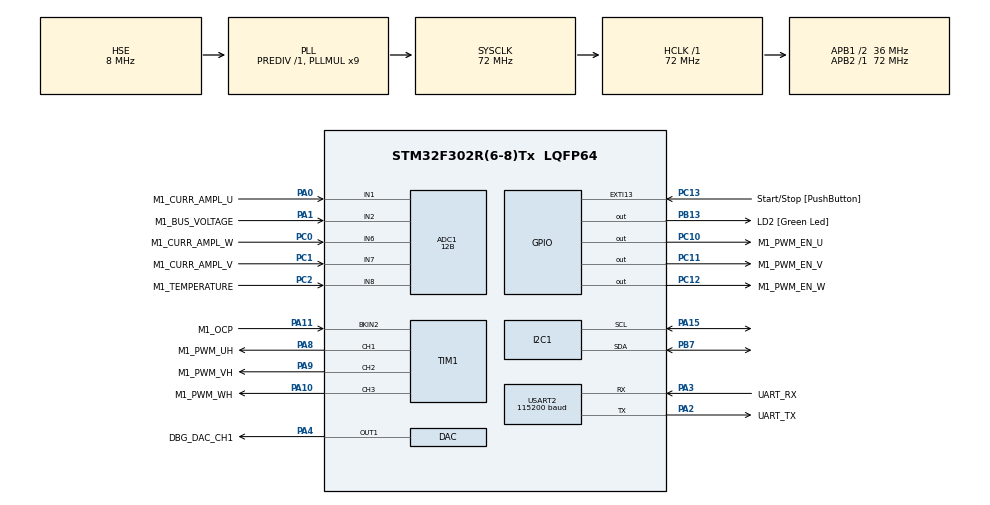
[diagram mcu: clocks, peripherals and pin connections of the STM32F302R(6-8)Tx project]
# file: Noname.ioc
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ADC1.Channel-1\#ChannelRegularConversion=ADC_CHANNEL_2
ADC1.Channel-2\#ChannelRegularConversion=ADC_CHANNEL_8
ADC1.ClockPrescaler=ADC_CLOCK_SYNC_PCLK_DIV1
ADC1.ContinuousConvMode=DISABLE
ADC1.DMAContinuousRequests=DISABLE
ADC1.DataAlign=ADC_DATAALIGN_LEFT
ADC1.DiscontinuousConvMode=DISABLE
ADC1.EOCSelection=ADC_EOC_SINGLE_CONV
ADC1.EnableAnalogWatchDog1=false
ADC1.EnableAnalogWatchDog2=false
ADC1.EnableAnalogWatchDog3=false
ADC1.EnableInjectedConversion=ENABLE
ADC1.EnableRegularConversion=ENABLE
ADC1.ExternalTrigConv=ADC_SOFTWARE_START
ADC1.ExternalTrigConvEdge=ADC_EXTERNALTRIGCONVEDGE_NONE
ADC1.ExternalTrigInjecConv=ADC_EXTERNALTRIGINJECCONV_T1_TRGO
ADC1.ExternalTrigInjecConvEdge=ADC_EXTERNALTRIGINJECCONV_EDGE_RISING
ADC1.InjNumberOfConversion=3
ADC1.InjectedChannel-1\#ChannelInjectedConversion=ADC_CHANNEL_1
ADC1.InjectedChannel-2\#ChannelInjectedConversion=ADC_CHANNEL_7
ADC1.InjectedChannel-3\#ChannelInjectedConversion=ADC_CHANNEL_6
ADC1.InjectedConvMode=None
ADC1.InjectedOffset-1\#ChannelInjectedConversion=0
ADC1.InjectedOffset-2\#ChannelInjectedConversion=0
ADC1.InjectedOffset-3\#ChannelInjectedConversion=0
ADC1.InjectedOffsetNumber-1\#ChannelInjectedConversion=ADC_OFFSET_NONE
ADC1.InjectedOffsetNumber-2\#ChannelInjectedConversion=ADC_OFFSET_NONE
ADC1.InjectedOffsetNumber-3\#ChannelInjectedConversion=ADC_OFFSET_NONE
ADC1.InjectedRank-1\#ChannelInjectedConversion=1
ADC1.InjectedRank-2\#ChannelInjectedConversion=2
ADC1.InjectedRank-3\#ChannelInjectedConversion=3
ADC1.InjectedSamplingTime-1\#ChannelInjectedConversion=ADC_SAMPLETIME_19CYCLES_5
ADC1.InjectedSamplingTime-2\#ChannelInjectedConversion=ADC_SAMPLETIME_19CYCLES_5
ADC1.InjectedSamplingTime-3\#ChannelInjectedConversion=ADC_SAMPLETIME_19CYCLES_5
ADC1.LowPowerAutoWait=DISABLE
ADC1.NbrOfConversion=2
ADC1.NbrOfConversionFlag=1
ADC1.Offset-1\#ChannelRegularConversion=0
ADC1.Offset-2\#ChannelRegularConversion=0
ADC1.OffsetNumber-1\#ChannelRegularConversion=ADC_OFFSET_NONE
ADC1.OffsetNumber-2\#ChannelRegularConversion=ADC_OFFSET_NONE
ADC1.Overrun=ADC_OVR_DATA_PRESERVED
ADC1.QueueInjectedContext=ENABLE
ADC1.Rank-1\#ChannelRegularConversion=1
ADC1.Rank-2\#ChannelRegularConversion=2
ADC1.Resolution=ADC_RESOLUTION_12B
ADC1.SamplingTime-1\#ChannelRegularConversion=ADC_SAMPLETIME_61CYCLES_5
ADC1.SamplingTime-2\#ChannelRegularConversion=ADC_SAMPLETIME_61CYCLES_5
ADC1.ScanConvMode=ADC_SCAN_ENABLE
ADC1.SubFamily=STM32F302x8
ADC1.master=1
DAC.DAC_OutputBuffer=DAC_OUTPUTBUFFER_DISABLE
DAC.DAC_Trigger=DAC_TRIGGER_SOFTWARE
ExtraMW=MotorControl
ExtraMW.MotorControl.Config=MotorControl
ExtraMW.MotorControl.Mode=MotorControl
ExtraMW.MotorControl.Root=MCSDK_v5.4.3/MotorControl
ExtraMW.MotorControl.Template=templates
Mcu.Family=STM32F3
Mcu.Name=STM32F302R(6-8)Tx
Mcu.Package=LQFP64
MotorControl.ADC_1_PERIPH=ADC1
MotorControl.ADC_2_PERIPH=ADC2
MotorControl.ADC_AHBPERIPH=RCC_AHBPeriph_ADC12
MotorControl.ADC_CLOCK_WB_DIV=1
MotorControl.ADC_CLOCK_WB_FREQ=72
MotorControl.ADC_PERIPH=ADC1
MotorControl.ADC_REFERENCE_VOLTAGE=3.30
MotorControl.ALIGNMENT_ANGLE_DEG=90
MotorControl.ALIGNMENT_DURATION=700
MotorControl.AMPLIFICATION_GAIN=1.53
MotorControl.ANGC={0,0,0,0,0,0,0,0}
MotorControl.BEMF_CONSISTENCY_GAIN=64
MotorControl.BEMF_CONSISTENCY_TOL=64
MotorControl.BKIN1_FILTER=0
MotorControl.BKIN2_FILTER=7
MotorControl.BKIN2_MODE=EXT_MODE
MotorControl.BKIN_MODE=NONE
MotorControl.BOARD=NUCLEO-F302R8
MotorControl.BRKIN2_GPIO_AF=GPIO_AF_2
MotorControl.BRKIN_GPIO_AF=GPIO_AF_12
MotorControl.BUS_VOLTAGE_READING=true
MotorControl.CCMRAM_ENABLED=false
MotorControl.CLOCK_FREQUENCY=CPU_CLK_72_MHZ
MotorControl.CLOCK_SOURCE=EXTERNAL
MotorControl.CONSTANT1_D=2073
MotorControl.CONSTANT1_Q=2073
MotorControl.CONSTANT2_QD=6116
MotorControl.CORD_BEMF_CONSISTENCY_GAIN=64
MotorControl.CORD_BEMF_CONSISTENCY_TOL=64
MotorControl.CORD_F1=1024
MotorControl.CORD_F2=16384
MotorControl.CORD_FIFO_DEPTH_01HZ=64
MotorControl.CORD_FIFO_DEPTH_DPP=64
MotorControl.CORD_GAIN1=-1162
MotorControl.CORD_GAIN2=1241
MotorControl.CORD_MAX_ACCEL_DPPP=30
MotorControl.CORD_MEAS_ERRORS_BEFORE_FAULTS=3
MotorControl.CORD_VARIANCE_THRESHOLD=4
MotorControl.CPU_CLK_72_MHZ=true
MotorControl.CTRBDID=1
MotorControl.CUBE_MX_VER=5.5.0
MotorControl.CURRENT_READING_TOPOLOGY=THREE_SHUNT
MotorControl.CURR_SAMPLING_TIME=19
MotorControl.DAC_EMULATED=false
MotorControl.DAC_FUNCTIONALITY=true
MotorControl.DAC_TIMER_CH1_GPIO_PIN=LL_GPIO_PIN_4
MotorControl.DAC_TIMER_CH1_GPIO_PORT=GPIOA
MotorControl.DAC_TIMER_CH2_GPIO_PIN=LL_GPIO_PIN_0
MotorControl.DAC_TIMER_CH2_GPIO_PORT=GPIOA
MotorControl.DAC_TIMER_SELECTION=TIM3
MotorControl.DC_CURRENT_RS_MEAS=0.80
MotorControl.DEBUG_DAC_CH1=true
MotorControl.DEBUG_DAC_CH2=false
MotorControl.DEFAULT_CONTROL_MODE=STC_SPEED_MODE
MotorControl.DEFAULT_DAC_CHANNEL_1=MC_PROTOCOL_REG_I_A
MotorControl.DEFAULT_DAC_CHANNEL_2=MC_PROTOCOL_REG_I_B
MotorControl.DEFAULT_DAC_MOTOR=0
MotorControl.DEFAULT_FLUX_COMPONENT=0
MotorControl.DEFAULT_TARGET_SPEED_RPM=2090
MotorControl.DEFAULT_TORQUE_COMPONENT=0
MotorControl.DISSIPATIVE_BRAKE_POLARITY=DOUT_ACTIVE_HIGH
MotorControl.DRIVES_NUMBER_SELECTION=SINGLEDRIVE
MotorControl.EMERGENCY2_STOP_GPIO_PIN=LL_GPIO_PIN_11
MotorControl.EMERGENCY2_STOP_GPIO_PORT=GPIOA
MotorControl.EMERGENCY_STOP_GPIO_PIN=LL_GPIO_PIN_11
MotorControl.EMERGENCY_STOP_GPIO_PORT=GPIOA
MotorControl.ENABLE_SL_ALGO_FROM_PHASE=1
MotorControl.ENCODER_AVAILABLE=false
MotorControl.ENCODER_PPR=400
MotorControl.ENC_AVERAGING_FIFO_DEPTH=16
MotorControl.ENC_A_GPIO_PIN=LL_GPIO_PIN_15
MotorControl.ENC_A_GPIO_PORT=GPIOA
MotorControl.ENC_B_GPIO_PIN=LL_GPIO_PIN_3
MotorControl.ENC_B_GPIO_PORT=GPIOB
MotorControl.ENC_ICx_FILTER=50
MotorControl.ENC_INVERT_SPEED=false
MotorControl.ENC_MEAS_ERRORS_BEFORE_FAULTS=3
MotorControl.ENC_TIMER_REMAPPING=NO_REMAP_TIM2
MotorControl.ENC_TIMER_SELECTION=ENC_TIM2
MotorControl.ENC_USE_CH3=false
MotorControl.EXT_CLK_8_MHZ=true
MotorControl.EXT_CLOCK_FREQUENCY=EXT_CLK_8_MHZ
MotorControl.F1=1024
MotorControl.F2=16384
MotorControl.FEEDBACK_NET_FILTERING=false
MotorControl.FEED_FORWARD_CURRENT_REG_ENABLING=false
MotorControl.FINAL_I_ALIGNMENT=19552
MotorControl.FLUX_WEAKENING_ENABLING=false
MotorControl.FW_KIDIV=32768
MotorControl.FW_KI_GAIN=5000
MotorControl.FW_KPDIV=32768
MotorControl.FW_KP_GAIN=3000
MotorControl.FW_VOLTAGE_REF=985
MotorControl.GAIN1=-1162
MotorControl.GAIN2=1241
MotorControl.H1_GPIO_PIN=LL_GPIO_PIN_15
MotorControl.H1_GPIO_PORT=GPIOA
MotorControl.H2_GPIO_PIN=LL_GPIO_PIN_3
MotorControl.H2_GPIO_PORT=GPIOB
MotorControl.H3_GPIO_PIN=LL_GPIO_PIN_10
MotorControl.H3_GPIO_PORT=GPIOB
MotorControl.HALL_AVERAGING_FIFO_DEPTH=6
MotorControl.HALL_ICx_FILTER=94
MotorControl.HALL_MEAS_ERRORS_BEFORE_FAULTS=3
MotorControl.HALL_MTPA=false
MotorControl.HALL_PHASE_SHIFT=300
MotorControl.HALL_SENSORS_AVAILABLE=false
MotorControl.HALL_SENSORS_PLACEMENT=DEGREES_120
MotorControl.HALL_TIMER_REMAPPING=NO_REMAP_TIM2
MotorControl.HALL_TIMER_SELECTION=HALL_TIM2
MotorControl.HFI_AMPLITUDE=25
MotorControl.HFI_DC_0_COEFF=0.00146
MotorControl.HFI_DC_1_COEFF=0.002921
MotorControl.HFI_DC_2_COEFF=0.00146
MotorControl.HFI_DC_3_COEFF=1.889033
MotorControl.HFI_DC_4_COEFF=-0.894874
MotorControl.HFI_DEBUG_MODE=false
MotorControl.HFI_FREQUENCY=400
MotorControl.HFI_HIFRAMPLSCAN=25
MotorControl.HFI_HP_ID_0_COEFF=0.959381
MotorControl.HFI_HP_ID_1_COEFF=-1.918761
MotorControl.HFI_HP_ID_2_COEFF=0.959381
MotorControl.HFI_HP_ID_3_COEFF=1.917111
MotorControl.HFI_HP_ID_4_COEFF=-0.920412
MotorControl.HFI_IDH_DELAY=32400
MotorControl.HFI_LOCKFREQ=22
MotorControl.HFI_LP_ID_0_COEFF=0.002751
MotorControl.HFI_LP_ID_1_COEFF=0.005502
MotorControl.HFI_LP_ID_2_COEFF=0.002751
MotorControl.HFI_LP_ID_3_COEFF=1.846252
MotorControl.HFI_LP_ID_4_COEFF=-0.857255
MotorControl.HFI_MAXANGLEDIFF=3640
MotorControl.HFI_MINIMUM_SPEED_RPM=402
MotorControl.HFI_NOTCH_IQD_0_COEFF=0.979509
MotorControl.HFI_NOTCH_IQD_1_COEFF=-1.952148
MotorControl.HFI_NOTCH_IQD_2_COEFF=0.979509
MotorControl.HFI_NOTCH_IQD_3_COEFF=1.952148
MotorControl.HFI_NOTCH_IQD_4_COEFF=-0.959018
MotorControl.HFI_NSDETPOINTSSKIP=10
MotorControl.HFI_NSMAXDETPOINTS=20
MotorControl.HFI_NS_MIN_SAT_DIFF=0
MotorControl.HFI_PID_KIDIV=32768
MotorControl.HFI_PID_KI_DEFAULT=400
MotorControl.HFI_PID_KPDIV=16384
MotorControl.HFI_PID_KP_DEFAULT=800
MotorControl.HFI_PLL_KI_DEFAULT=0.00400
MotorControl.HFI_PLL_KP_DEFAULT=0.00060
MotorControl.HFI_RESTARTTIMESEC=0.1
MotorControl.HFI_RESTART_RPM_TH=(((HFI_STO_RPM_TH)+(STO_HFI_RPM_TH))/2)
MotorControl.HFI_REVERT_DIRECTION=true
MotorControl.HFI_SCANROTATIONSNO=3
MotorControl.HFI_SPD_BUFFER_DEPTH_01HZ=64
MotorControl.HFI_STEPANGLE=3640
MotorControl.HFI_STO_RPM_TH=OBS_MINIMUM_SPEED_RPM
MotorControl.HFI_WAITAFTERNS2=4
MotorControl.HFI_WAITBEFORESN=6
MotorControl.HFI_WAITSYNCH=20
MotorControl.HFI_WAITTRACK=20
MotorControl.HIGH_SIDE_BRAKE_STATE=false
MotorControl.HIGH_SIDE_IDLE_STATE=false
MotorControl.HW_COMPLEMENTED_LOW_SIDE=true
MotorControl.HW_DEAD_TIME_NS=1000
MotorControl.HW_OV_CURRENT_PROT_BYPASS=false
MotorControl.ID_DEMAG=-8021
MotorControl.INRUSH_CURRLIMIT_AT_POWER_ON=true
MotorControl.INRUSH_CURRLIMIT_CHANGE_AFTER_MS=1000
MotorControl.INRUSH_CURRLIMIT_ENABLING=false
MotorControl.INRUSH_CURRLIMIT_GPIO_PIN=LL_GPIO_PIN_10
MotorControl.INRUSH_CURRLIMIT_GPIO_PORT=GPIOC
MotorControl.INRUSH_CURR_LIMITER_POLARITY=DOUT_ACTIVE_HIGH
MotorControl.INTERNAL_OVERCURRENTPROTECTION=false
MotorControl.INTERNAL_OVERVOLTAGEPROTECTION=false
MotorControl.IQMAX=8021
MotorControl.LCD_JOYSTICK_FUNCTIONALITY=false
MotorControl.LCD_MODE=LCD_FULL
MotorControl.LDLQ_RATIO=1.000
MotorControl.LOW_SIDE_BRAKE_STATE=false
MotorControl.LOW_SIDE_IDLE_STATE=false
MotorControl.LOW_SIDE_SIGNALS_ENABLING=ES_GPIO
MotorControl.LS=0.000013
MotorControl.MAX_APPLICATION_SPEED=12798
MotorControl.MAX_MODULATION_81_PER_CENT=true
MotorControl.MAX_MODULATION_INDEX=MAX_MODULATION_81_PER_CENT
MotorControl.MCU=STM32F302R8
MotorControl.MCU_TYPE=STM32F302X8
MotorControl.MC_WORKBENCH_VERSION=5.4.3.19514
MotorControl.MEAS_ERRORS_BEFORE_FAULTS=3
MotorControl.MIN_APPLICATION_SPEED=0
MotorControl.MOTOR_MAX_SPEED_RPM=12798
MotorControl.MOTOR_TYPE=PMSM
MotorControl.MOTOR_VOLTAGE_CONSTANT=0.9
MotorControl.MTPA_ENABLING=false
MotorControl.NB_CONSECUTIVE_TESTS=2
MotorControl.NOMINAL_BUS_VOLTAGE_V=11
MotorControl.NOMINAL_CURRENT=8021
MotorControl.OBS_MEAS_ERRORS_BEFORE_FAULTS=3
MotorControl.OBS_MINIMUM_SPEED_RPM=2090
MotorControl.OCPA_INVERTINGINPUT=COMPX_InvertingInput_VREF
MotorControl.OCPA_INVERTINGINPUT_GPIO_PIN=LL_GPIO_PIN_4
MotorControl.OCPA_INVERTINGINPUT_GPIO_PORT=GPIOA
MotorControl.OCPA_INVERTINGINPUT_MODE=INT_MODE
MotorControl.OCPA_NONINVERTINGINPUT=COMP1_NonInvertingInput_PA1
MotorControl.OCPA_NONINVERTINGINPUT_GPIO_PIN=LL_GPIO_PIN_1
MotorControl.OCPA_NONINVERTINGINPUT_GPIO_PORT=GPIOA
MotorControl.OCPA_OUTPUT=COMP_Output_TIM1BKIN2
MotorControl.OCPA_OUTPUTPOL=COMP_OutputPol_NonInverted
MotorControl.OCPA_OUTPUT_GPIO_AF=GPIO_AF_8
MotorControl.OCPA_OUTPUT_GPIO_PIN=LL_GPIO_PIN_0
MotorControl.OCPA_OUTPUT_GPIO_PORT=GPIOA
MotorControl.OCPA_OUTPUT_MODE=INT_MODE
MotorControl.OCPA_SELECTION=COMP1
MotorControl.OCPB_INVERTINGINPUT=COMPX_InvertingInput_VREF
MotorControl.OCPB_INVERTINGINPUT_GPIO_PIN=LL_GPIO_PIN_4
MotorControl.OCPB_INVERTINGINPUT_GPIO_PORT=GPIOA
MotorControl.OCPB_INVERTINGINPUT_MODE=INT_MODE
MotorControl.OCPB_NONINVERTINGINPUT=COMP2_NonInvertingInput_PA7
MotorControl.OCPB_NONINVERTINGINPUT_GPIO_PIN=LL_GPIO_PIN_7
MotorControl.OCPB_NONINVERTINGINPUT_GPIO_PORT=GPIOA
MotorControl.OCPB_OUTPUT=COMP_Output_TIM1BKIN2
MotorControl.OCPB_OUTPUTPOL=COMP_OutputPol_NonInverted
MotorControl.OCPB_OUTPUT_GPIO_AF=GPIO_AF_8
MotorControl.OCPB_OUTPUT_GPIO_PIN=LL_GPIO_PIN_2
MotorControl.OCPB_OUTPUT_GPIO_PORT=GPIOA
MotorControl.OCPB_OUTPUT_MODE=INT_MODE
MotorControl.OCPB_SELECTION=COMP2
MotorControl.OCPC_INVERTINGINPUT=COMPX_InvertingInput_VREF
MotorControl.OCPC_INVERTINGINPUT_GPIO_PIN=LL_GPIO_PIN_4
MotorControl.OCPC_INVERTINGINPUT_GPIO_PORT=GPIOA
MotorControl.OCPC_INVERTINGINPUT_MODE=INT_MODE
MotorControl.OCPC_NONINVERTINGINPUT=COMP3_NonInvertingInput_PD14
MotorControl.OCPC_NONINVERTINGINPUT_GPIO_PIN=LL_GPIO_PIN_14
MotorControl.OCPC_NONINVERTINGINPUT_GPIO_PORT=GPIOD
MotorControl.OCPC_OUTPUT=COMP_Output_TIM1BKIN2
MotorControl.OCPC_OUTPUTPOL=COMP_OutputPol_NonInverted
MotorControl.OCPC_OUTPUT_GPIO_AF=GPIO_AF_7
MotorControl.OCPC_OUTPUT_GPIO_PIN=LL_GPIO_PIN_8
MotorControl.OCPC_OUTPUT_GPIO_PORT=GPIOC
MotorControl.OCPC_OUTPUT_MODE=INT_MODE
MotorControl.OCPC_SELECTION=COMP3
MotorControl.OCPREF=23830
MotorControl.OCP_COMP_THRESHOLD=0.50
MotorControl.OCP_FILTER=COMP_Mode_HighSpeed
MotorControl.OCP_INVERTINGINPUT=COMPX_InvertingInput_VREF
MotorControl.OCP_INVERTINGINPUT_GPIO_PIN=LL_GPIO_PIN_4
MotorControl.OCP_INVERTINGINPUT_GPIO_PORT=GPIOA
MotorControl.OCP_INVERTINGINPUT_MODE=INT_MODE
MotorControl.OCP_NONINVERTINGINPUT=COMP2_NonInvertingInput_PA7
MotorControl.OCP_NONINVERTINGINPUT_GPIO_PIN=LL_GPIO_PIN_7
MotorControl.OCP_NONINVERTINGINPUT_GPIO_PORT=GPIOA
MotorControl.OCP_OUTPUT=COMP_Output_TIM1BKIN2
MotorControl.OCP_OUTPUTPOL=COMP_OutputPol_NonInverted
MotorControl.OCP_OUTPUT_GPIO_AF=GPIO_AF_8
MotorControl.OCP_OUTPUT_GPIO_PIN=LL_GPIO_PIN_2
MotorControl.OCP_OUTPUT_GPIO_PORT=GPIOA
MotorControl.OCP_OUTPUT_MODE=INT_MODE
MotorControl.OCP_SELECTION=COMP2
MotorControl.OFST={0,0,0,0,0,0,0,0}
MotorControl.ON_OVER_VOLTAGE=TURN_OFF_PWM
MotorControl.OPAMP1_INVERTINGINPUT=OPAMP1_InvertingInput_PGA
MotorControl.OPAMP1_INVERTINGINPUT_GPIO_PIN=LL_GPIO_PIN_3
MotorControl.OPAMP1_INVERTINGINPUT_GPIO_PORT=GPIOA
MotorControl.OPAMP1_INVERTINGINPUT_MODE=INT_MODE
MotorControl.OPAMP1_NONINVERTINGINPUT_PHA=OPAMP1_NonInvertingInput_PA1
MotorControl.OPAMP1_NONINVERTINGINPUT_PHA_GPIO_PIN=LL_GPIO_PIN_1
MotorControl.OPAMP1_NONINVERTINGINPUT_PHA_GPIO_PORT=GPIOA
MotorControl.OPAMP1_NONINVERTINGINPUT_PHB=OPAMP1_NonInvertingInput_PA7
MotorControl.OPAMP1_NONINVERTINGINPUT_PHB_GPIO_PIN=LL_GPIO_PIN_7
MotorControl.OPAMP1_NONINVERTINGINPUT_PHB_GPIO_PORT=GPIOA
MotorControl.OPAMP1_OUT_GPIO_PIN=LL_GPIO_PIN_2
MotorControl.OPAMP1_OUT_GPIO_PORT=GPIOA
MotorControl.OPAMP1_SELECTION=OPAMP1
MotorControl.OPAMP2_INVERTINGINPUT=OPAMP2_InvertingInput_PGA
MotorControl.OPAMP2_INVERTINGINPUT_GPIO_PIN=LL_GPIO_PIN_5
MotorControl.OPAMP2_INVERTINGINPUT_GPIO_PORT=GPIOC
MotorControl.OPAMP2_INVERTINGINPUT_MODE=INT_MODE
MotorControl.OPAMP2_NONINVERTINGINPUT_PHA=OPAMP2_NonInvertingInput_PB0
MotorControl.OPAMP2_NONINVERTINGINPUT_PHA_GPIO_PIN=LL_GPIO_PIN_0
MotorControl.OPAMP2_NONINVERTINGINPUT_PHA_GPIO_PORT=GPIOB
MotorControl.OPAMP2_NONINVERTINGINPUT_PHB=OPAMP2_NonInvertingInput_PA7
MotorControl.OPAMP2_NONINVERTINGINPUT_PHB_GPIO_PIN=LL_GPIO_PIN_7
MotorControl.OPAMP2_NONINVERTINGINPUT_PHB_GPIO_PORT=GPIOA
MotorControl.OPAMP2_NONINVERTINGINPUT_PHC=OPAMP2_NonInvertingInput_PB0
MotorControl.OPAMP2_NONINVERTINGINPUT_PHC_GPIO_PIN=LL_GPIO_PIN_0
MotorControl.OPAMP2_NONINVERTINGINPUT_PHC_GPIO_PORT=GPIOB
MotorControl.OPAMP2_OUT_GPIO_PIN=LL_GPIO_PIN_6
MotorControl.OPAMP2_OUT_GPIO_PORT=GPIOA
MotorControl.OPAMP2_SELECTION=OPAMP2
MotorControl.OPAMP3_INVERTINGINPUT=OPAMP1_InvertingInput_PGA
MotorControl.OPAMP3_INVERTINGINPUT_GPIO_PIN=LL_GPIO_PIN_0
MotorControl.OPAMP3_INVERTINGINPUT_GPIO_PORT=GPIOA
MotorControl.OPAMP3_INVERTINGINPUT_MODE=INT_MODE
MotorControl.OPAMP3_SELECTION=OPAMP1
MotorControl.OPAMP_INVERTINGINPUT=OPAMP1_InvertingInput_PGA
MotorControl.OPAMP_INVERTINGINPUT_GPIO_PIN=LL_GPIO_PIN_3
MotorControl.OPAMP_INVERTINGINPUT_GPIO_PORT=GPIOA
MotorControl.OPAMP_INVERTINGINPUT_MODE=INT_MODE
MotorControl.OPAMP_NONINVERTINGINPUT=OPAMP1_NonInvertingInput_PA7
MotorControl.OPAMP_NONINVERTINGINPUT_GPIO_PIN=LL_GPIO_PIN_7
MotorControl.OPAMP_NONINVERTINGINPUT_GPIO_PORT=GPIOA
MotorControl.OPAMP_OUT_GPIO_PIN=LL_GPIO_PIN_2
MotorControl.OPAMP_OUT_GPIO_PORT=GPIOA
MotorControl.OPAMP_PGACONNECT=OPAMP_PGAConnect_No
MotorControl.OPAMP_PGAGAIN=OPAMP_OPAMP_PGAGain_2
MotorControl.OPAMP_SELECTION=OPAMP1
MotorControl.OPAMP_TYPE_GAIN=INTERNAL
MotorControl.OPEN_LOOP_FOC=false
MotorControl.OPEN_LOOP_K=44
MotorControl.OPEN_LOOP_OFF=4400
MotorControl.OPEN_LOOP_SPEED_RAMP_DURATION_MS=1000
MotorControl.OPEN_LOOP_SPEED_RPM=100
MotorControl.OPEN_LOOP_VF=false
MotorControl.OPEN_LOOP_VOLTAGE_d=6000
MotorControl.OTF_STARTUP=true
MotorControl.OVERCURR_FEEDBACK_POLARITY=EMSTOP2_ACTIVE_LOW
MotorControl.OVERCURR_PROTECTION_HW_DISABLING=DOUT_ACTIVE_HIGH
MotorControl.OVPREF=23830
MotorControl.OVP_FILTER=COMP_Mode_HighSpeed
MotorControl.OVP_INVERTINGINPUT=COMPX_InvertingInput_VREF
MotorControl.OVP_INVERTINGINPUT_GPIO_PIN=LL_GPIO_PIN_4
MotorControl.OVP_INVERTINGINPUT_GPIO_PORT=GPIOA
MotorControl.OVP_INVERTINGINPUT_MODE=INT_MODE
MotorControl.OVP_NONINVERTINGINPUT=COMP2_NonInvertingInput_PA7
MotorControl.OVP_NONINVERTINGINPUT_GPIO_PIN=LL_GPIO_PIN_7
MotorControl.OVP_NONINVERTINGINPUT_GPIO_PORT=GPIOA
MotorControl.OVP_OUTPUT=COMP_Output_TIM1BKIN
MotorControl.OVP_OUTPUTPOL=COMP_OutputPol_NonInverted
MotorControl.OVP_OUTPUT_GPIO_AF=GPIO_AF_8
MotorControl.OVP_OUTPUT_GPIO_PIN=LL_GPIO_PIN_2
MotorControl.OVP_OUTPUT_GPIO_PORT=GPIOA
MotorControl.OVP_OUTPUT_MODE=INT_MODE
MotorControl.OVP_SELECTION=COMP2
MotorControl.OV_CURR_BYPASS_GPIO_PIN=LL_GPIO_PIN_11
MotorControl.OV_CURR_BYPASS_GPIO_PORT=GPIOC
MotorControl.OV_TEMPERATURE_HYSTERESIS_C=10
MotorControl.OV_TEMPERATURE_PROT_ENABLING=true
MotorControl.OV_TEMPERATURE_THRESHOLD_C=110
MotorControl.OV_VOLTAGE_PROT_ENABLING=true
MotorControl.OV_VOLTAGE_THRESHOLD_V=36
MotorControl.PHASE1_DURATION=0
MotorControl.PHASE1_FINAL_CURRENT=0
MotorControl.PHASE1_FINAL_SPEED_RPM=0
MotorControl.PHASE2_DURATION=1000
MotorControl.PHASE2_FINAL_CURRENT=0
MotorControl.PHASE2_FINAL_SPEED_RPM=0
MotorControl.PHASE3_DURATION=1000
MotorControl.PHASE3_FINAL_CURRENT=8021
MotorControl.PHASE3_FINAL_SPEED_RPM=0
MotorControl.PHASE4_DURATION=4644
MotorControl.PHASE4_FINAL_CURRENT=8021
MotorControl.PHASE4_FINAL_SPEED_RPM=2322
MotorControl.PHASE5_DURATION=0
MotorControl.PHASE5_FINAL_CURRENT=8021
MotorControl.PHASE5_FINAL_SPEED_RPM=2322
MotorControl.PHASE_CURRENTS_ADC=ADC1_2
MotorControl.PHASE_CURRENTS_CHANNEL=ADC_CHANNEL_7
MotorControl.PHASE_CURRENTS_GPIO_PIN=LL_GPIO_PIN_0
MotorControl.PHASE_CURRENTS_GPIO_PORT=GPIOA
MotorControl.PHASE_UH_GPIO_AF=GPIO_AF_6
MotorControl.PHASE_UH_GPIO_PIN=LL_GPIO_PIN_8
MotorControl.PHASE_UH_GPIO_PORT=GPIOA
MotorControl.PHASE_UH_POLARITY=H_ACTIVE_HIGH
MotorControl.PHASE_UL_GPIO_AF=GPIO_AF_0
MotorControl.PHASE_UL_GPIO_PIN=LL_GPIO_PIN_10
MotorControl.PHASE_UL_GPIO_PORT=GPIOC
MotorControl.PHASE_UL_POLARITY=L_ACTIVE_HIGH
MotorControl.PHASE_U_CURR_ADC=ADC1
MotorControl.PHASE_U_CURR_CHANNEL=ADC_CHANNEL_1
MotorControl.PHASE_U_GPIO_PIN=LL_GPIO_PIN_0
MotorControl.PHASE_U_GPIO_PORT=GPIOA
MotorControl.PHASE_VH_GPIO_AF=GPIO_AF_6
MotorControl.PHASE_VH_GPIO_PIN=LL_GPIO_PIN_9
MotorControl.PHASE_VH_GPIO_PORT=GPIOA
MotorControl.PHASE_VH_POLARITY=H_ACTIVE_HIGH
MotorControl.PHASE_VL_GPIO_AF=GPIO_AF_0
MotorControl.PHASE_VL_GPIO_PIN=LL_GPIO_PIN_11
MotorControl.PHASE_VL_GPIO_PORT=GPIOC
MotorControl.PHASE_VL_POLARITY=L_ACTIVE_HIGH
MotorControl.PHASE_V_CURR_ADC=ADC1
MotorControl.PHASE_V_CURR_CHANNEL=ADC_CHANNEL_7
MotorControl.PHASE_V_GPIO_PIN=LL_GPIO_PIN_1
MotorControl.PHASE_V_GPIO_PORT=GPIOC
MotorControl.PHASE_WH_GPIO_AF=GPIO_AF_6
MotorControl.PHASE_WH_GPIO_PIN=LL_GPIO_PIN_10
MotorControl.PHASE_WH_GPIO_PORT=GPIOA
MotorControl.PHASE_WH_POLARITY=H_ACTIVE_HIGH
MotorControl.PHASE_WL_GPIO_AF=GPIO_AF_0
MotorControl.PHASE_WL_GPIO_PIN=LL_GPIO_PIN_12
MotorControl.PHASE_WL_GPIO_PORT=GPIOC
MotorControl.PHASE_WL_POLARITY=L_ACTIVE_HIGH
MotorControl.PHASE_W_CURR_ADC=ADC1
MotorControl.PHASE_W_CURR_CHANNEL=ADC_CHANNEL_6
MotorControl.PHASE_W_GPIO_PIN=LL_GPIO_PIN_0
MotorControl.PHASE_W_GPIO_PORT=GPIOC
MotorControl.PID_FLUX_KD_DEFAULT=100
MotorControl.PID_FLUX_KI_DEFAULT=370
MotorControl.PID_FLUX_KP_DEFAULT=759
MotorControl.PID_SPEED_KD_DEFAULT=0
MotorControl.PID_SPEED_KI_DEFAULT=704
MotorControl.PID_SPEED_KP_DEFAULT=2039
MotorControl.PID_TORQUE_KD_DEFAULT=100
MotorControl.PID_TORQUE_KI_DEFAULT=370
MotorControl.PID_TORQUE_KP_DEFAULT=759
MotorControl.PLL_KI_GAIN=37
MotorControl.PLL_KP_GAIN=1589
MotorControl.POLE_PAIR_NUM=7
MotorControl.POSITION_CTRL_ENABLING=false
MotorControl.PWBDID=2
MotorControl.PWM_FREQUENCY=30000
MotorControl.PWM_TIMER_REMAPPING=PWM_PARTIAL_REMAP
MotorControl.PWM_TIMER_SELECTION=PWM_TIM1
MotorControl.REGCONVADC=ADC1
MotorControl.REGULATION_EXECUTION_RATE=1
MotorControl.RS=0.19
MotorControl.RSHUNT=0.3300
MotorControl.RTOS=NONE
MotorControl.R_BRAKE_GPIO_PIN=LL_GPIO_PIN_11
MotorControl.R_BRAKE_GPIO_PORT=GPIOC
MotorControl.R_BRAKE_SWITCH_OFF_THRES_V=29
MotorControl.SEGDIV=0
MotorControl.SERIAL_COMMUNICATION=true
MotorControl.SERIAL_COM_CHANNEL1=MC_PROTOCOL_REG_I_A
MotorControl.SERIAL_COM_CHANNEL2=MC_PROTOCOL_REG_I_A
MotorControl.SERIAL_COM_MODE=COM_BIDIRECTIONAL
MotorControl.SERIAL_COM_MOTOR=0
MotorControl.SHARED_SIGNAL_ENABLE=false
MotorControl.SINGLEDRIVE=true
MotorControl.SPD_DIFFERENTIAL_TERM_ENABLING=false
MotorControl.SPEED_BAND_LOWER_LIMIT=15
MotorControl.SPEED_BAND_UPPER_LIMIT=17
MotorControl.SPEED_FEEDBACK_CHECK=true
MotorControl.SPEED_LOOP_FREQUENCY_HZ=1000
MotorControl.SPEED_SENSOR_SELECTION=STATE_OBSERVER_PLL
MotorControl.SP_KDDIV=16
MotorControl.SP_KIDIV=16384
MotorControl.SP_KPDIV=64
MotorControl.STARTING_ANGLE_DEG=0
MotorControl.START_STOP_BTN=true
MotorControl.START_STOP_GPIO_PIN=LL_GPIO_PIN_13
MotorControl.START_STOP_GPIO_PORT=GPIOC
MotorControl.START_STOP_POLARITY=DIN_ACTIVE_LOW
MotorControl.START_STOP_POLARITY_EDGE=GPIO_NOPULL
MotorControl.STATE_OBSERVER_PLL=true
MotorControl.STM32F302X8=true
MotorControl.STO_FIFO_DEPTH_01HZ=64
MotorControl.STO_FIFO_DEPTH_DPP=64
MotorControl.STO_HFI_RPM_TH=460
MotorControl.SW_DEADTIME_NS=800
MotorControl.SW_OV_CURRENT_PROT_ENABLING=true
MotorControl.T0_C=25
MotorControl.TEMPERATURE_READING=true
MotorControl.TEMP_ADC_SAMPLING_TIME=61
MotorControl.TEMP_FDBK_ADC=ADC1
MotorControl.TEMP_FDBK_CHANNEL=ADC_CHANNEL_8
MotorControl.TEMP_FDBK_GPIO_PIN=LL_GPIO_PIN_2
MotorControl.TEMP_FDBK_GPIO_PORT=GPIOC
MotorControl.TFDIFFERENTIAL_TERM_ENABLING=false
MotorControl.TF_KDDIV=8192
MotorControl.TF_KIDIV=16384
MotorControl.TF_KPDIV=16384
MotorControl.THREE_SHUNT=true
MotorControl.TNOISE_NS=700
MotorControl.TRANSITION_DURATION=0
MotorControl.TRISE_NS=1800
MotorControl.T_MAX=110
MotorControl.UD_VOLTAGE_THRESHOLD_V=5
MotorControl.USART_REMAPPING=NO_REMAP_USART2
MotorControl.USART_RX_GPIO_PIN=LL_GPIO_PIN_3
MotorControl.USART_RX_GPIO_PORT=GPIOA
MotorControl.USART_SELECTION=USE_USART2
MotorControl.USART_SPEED=115200
MotorControl.USART_TX_GPIO_PIN=LL_GPIO_PIN_2
MotorControl.USART_TX_GPIO_PORT=GPIOA
MotorControl.USE_3OPAMPS=false
MotorControl.USE_INTERNAL_OPAMP=false
MotorControl.UV_VOLTAGE_PROT_ENABLING=true
MotorControl.V0_V=1.055
MotorControl.VARIANCE_THRESHOLD=0.1
MotorControl.VBUS_ADC=ADC1
MotorControl.VBUS_ADC_SAMPLING_TIME=61
MotorControl.VBUS_CHANNEL=ADC_CHANNEL_2
MotorControl.VBUS_GPIO_PIN=LL_GPIO_PIN_1
MotorControl.VBUS_GPIO_PORT=GPIOA
MotorControl.VBUS_PARTITIONING_FACTOR=0.0522
MotorControl.WB_to_Mx_template_version=19-11-14
MotorControl.WB_to_Mx_version=1.0.6
MotorControl.dV_dT=0.023
NVIC.ADC1_IRQn=true\:2\:0\:true\:true\:false\:3\:true\:true
NVIC.EXTI15_10_IRQn=true\:3\:0\:false\:true\:false\:5\:true\:true
NVIC.PriorityGroup=NVIC_PRIORITYGROUP_3
NVIC.TIM1_BRK_TIM15_IRQn=true\:4\:1\:true\:true\:false\:1\:true\:true
NVIC.TIM1_UP_TIM16_IRQn=true\:0\:0\:false\:true\:false\:2\:true\:true
NVIC.USART2_IRQn=true\:3\:1\:true\:true\:false\:4\:true\:true
PA0.GPIO_Label=M1_CURR_AMPL_U
PA0.Mode=IN1-Single-Ended
PA0.Signal=ADC1_IN1
PA1.GPIO_Label=M1_BUS_VOLTAGE
PA1.Mode=IN2-Single-Ended
PA1.Signal=ADC1_IN2
PA10.GPIO_Label=M1_PWM_WH
PA10.GPIO_PuPd=GPIO_PULLDOWN
PA10.GPIO_Speed=GPIO_SPEED_FREQ_HIGH
PA10.Signal=S_TIM1_CH3
PA11.GPIO_Label=M1_OCP
PA11.GPIO_PuPd=GPIO_PULLUP
PA11.Mode=Activate-Break-Input-2
PA11.Signal=TIM1_BKIN2
PA13.GPIO_Label=TMS
PA13.Mode=Serial_Wire
PA13.Signal=SYS_JTMS-SWDIO
PA14.GPIO_Label=TCK
PA14.Mode=Serial_Wire
PA14.Signal=SYS_JTCK-SWCLK
PA15.Mode=I2C
PA15.Signal=I2C1_SCL
PA2.GPIO_Label=UART_TX
PA2.GPIO_Mode=GPIO_MODE_AF_PP
PA2.GPIO_PuPd=GPIO_NOPULL
PA2.GPIO_Speed=GPIO_SPEED_FREQ_LOW
PA2.Mode=Asynchronous
PA2.Signal=USART2_TX
PA3.GPIO_Label=UART_RX
PA3.GPIO_Mode=GPIO_MODE_AF_PP
PA3.GPIO_PuPd=GPIO_NOPULL
PA3.GPIO_Speed=GPIO_SPEED_FREQ_LOW
PA3.Mode=Asynchronous
PA3.Signal=USART2_RX
PA4.GPIO_Label=DBG_DAC_CH1
PA4.Signal=COMP_DAC1_group
PA8.GPIO_Label=M1_PWM_UH
PA8.GPIO_PuPd=GPIO_PULLDOWN
PA8.GPIO_Speed=GPIO_SPEED_FREQ_HIGH
PA8.Signal=S_TIM1_CH1
PA9.GPIO_Label=M1_PWM_VH
PA9.GPIO_PuPd=GPIO_PULLDOWN
PA9.GPIO_Speed=GPIO_SPEED_FREQ_HIGH
PA9.Signal=S_TIM1_CH2
PB13.GPIO_Label=LD2 [Green Led]
PB13.Signal=GPIO_Output
PB7.Mode=I2C
PB7.Signal=I2C1_SDA
PC0.GPIO_Label=M1_CURR_AMPL_W
PC0.Signal=ADCx_IN6
PC1.GPIO_Label=M1_CURR_AMPL_V
PC1.Signal=ADCx_IN7
PC10.GPIO_Label=M1_PWM_EN_U
PC10.GPIO_PuPd=GPIO_PULLDOWN
PC10.GPIO_Speed=GPIO_SPEED_FREQ_HIGH
PC10.Signal=GPIO_Output
PC11.GPIO_Label=M1_PWM_EN_V
PC11.GPIO_PuPd=GPIO_PULLDOWN
PC11.GPIO_Speed=GPIO_SPEED_FREQ_HIGH
PC11.Signal=GPIO_Output
PC12.GPIO_Label=M1_PWM_EN_W
PC12.GPIO_PuPd=GPIO_PULLDOWN
PC12.GPIO_Speed=GPIO_SPEED_FREQ_HIGH
PC12.Signal=GPIO_Output
PC13.GPIO_Label=Start/Stop [PushButton]
PC13.GPIO_ModeDefaultEXTI=GPIO_MODE_IT_FALLING
PC13.GPIO_PuPd=GPIO_NOPULL
PC13.Signal=GPXTI13
PC2.GPIO_Label=M1_TEMPERATURE
PC2.Signal=ADCx_IN8
PF0-OSC_IN.Mode=HSE-External-Oscillator
PF0-OSC_IN.Signal=RCC_OSC_IN
PF1-OSC_OUT.Mode=HSE-External-Oscillator
PF1-OSC_OUT.Signal=RCC_OSC_OUT
ProjectManager.HeapSize=0x200
ProjectManager.StackSize=0x400
ProjectManager.TargetToolchain=TrueSTUDIO
RCC.AHBFreq_Value=72000000
RCC.APB1CLKDivider=RCC_HCLK_DIV2
RCC.APB1Freq_Value=36000000
RCC.APB1TimFreq_Value=72000000
RCC.APB2Freq_Value=72000000
RCC.APB2TimFreq_Value=72000000
RCC.CortexFreq_Value=72000000
RCC.HCLKFreq_Value=72000000
RCC.HSE_VALUE=8000000
RCC.HSI_VALUE=8000000
RCC.LSE_VALUE=32768
RCC.PLLMUL=RCC_PLL_MUL9
RCC.PLLSourceVirtual=RCC_PLLSOURCE_HSE
RCC.SYSCLKFreq_VALUE=72000000
RCC.SYSCLKSourceVirtual=RCC_SYSCLKSOURCE_PLLCLK
RCC.TIM1Selection=RCC_TIM1CLK_PLLCLK
RCC.USBFreq_Value=72000000
SH.ADCx_IN6.0=ADC1_IN6,IN6-Single-Ended
SH.ADCx_IN7.0=ADC1_IN7,IN7-Single-Ended
SH.ADCx_IN8.0=ADC1_IN8,IN8-Single-Ended
SH.COMP_DAC1_group.0=DAC_OUT1,DAC_OUT1
SH.S_TIM1_CH1.0=TIM1_CH1,PWM Generation1 CH1
SH.S_TIM1_CH2.0=TIM1_CH2,PWM Generation2 CH2
SH.S_TIM1_CH3.0=TIM1_CH3,PWM Generation3 CH3
TIM1.AutoReloadPreload=TIM_AUTORELOAD_PRELOAD_DISABLE
TIM1.AutomaticOutput=TIM_AUTOMATICOUTPUT_DISABLE
TIM1.Break2Filter=7
TIM1.Break2Polarity=TIM_BREAK2POLARITY_LOW
TIM1.Break2State=TIM_BREAK2_ENABLE
TIM1.BreakFilter=0
TIM1.BreakPolarity=TIM_BREAKPOLARITY_HIGH
TIM1.BreakState=TIM_BREAK_DISABLE
TIM1.Channel=TIM_CHANNEL_4
TIM1.Channel-PWM\ Generation1\ CH1=TIM_CHANNEL_1
TIM1.Channel-PWM\ Generation2\ CH2=TIM_CHANNEL_2
TIM1.Channel-PWM\ Generation3\ CH3=TIM_CHANNEL_3
TIM1.Channel-PWM\ Generation4\ No\ Output=TIM_CHANNEL_4
TIM1.ClearInputSource=TIM_CLEARINPUTSOURCE_NONE
TIM1.ClockDivision=TIM_CLOCKDIVISION_DIV2
TIM1.CounterMode=TIM_COUNTERMODE_CENTERALIGNED1
TIM1.LockLevel=TIM_LOCKLEVEL_1
TIM1.OCFastMode_PWM=TIM_OCFAST_DISABLE
TIM1.OCIdleState_1=TIM_OCIDLESTATE_RESET
TIM1.OCIdleState_2=TIM_OCIDLESTATE_RESET
TIM1.OCIdleState_3=TIM_OCIDLESTATE_RESET
TIM1.OCIdleState_4=TIM_OCIDLESTATE_RESET
TIM1.OCIdleState_5=TIM_OCIDLESTATE_RESET
TIM1.OCIdleState_6=TIM_OCIDLESTATE_RESET
TIM1.OCMode_PWM-PWM\ Generation1\ CH1=TIM_OCMODE_PWM1
TIM1.OCMode_PWM-PWM\ Generation2\ CH2=TIM_OCMODE_PWM1
TIM1.OCMode_PWM-PWM\ Generation3\ CH3=TIM_OCMODE_PWM1
TIM1.OCMode_PWM-PWM\ Generation4\ No\ Output=TIM_OCMODE_PWM2
TIM1.OCPolarity_1=TIM_OCPOLARITY_HIGH
TIM1.OCPolarity_2=TIM_OCPOLARITY_HIGH
TIM1.OCPolarity_3=TIM_OCPOLARITY_HIGH
TIM1.OCPolarity_4=TIM_OCPOLARITY_HIGH
TIM1.OCPolarity_5=TIM_OCPOLARITY_HIGH
TIM1.OCPolarity_6=TIM_OCPOLARITY_HIGH
TIM1.OffStateIDLEMode=TIM_OSSI_ENABLE
TIM1.OffStateRunMode=TIM_OSSR_ENABLE
TIM1.Period=((PWM_PERIOD_CYCLES) / 2)
TIM1.Prescaler=((TIM_CLOCK_DIVIDER) - 1)
TIM1.Pulse-PWM\ Generation1\ CH1=((PWM_PERIOD_CYCLES) / 4)
TIM1.Pulse-PWM\ Generation2\ CH2=((PWM_PERIOD_CYCLES) / 4)
TIM1.Pulse-PWM\ Generation3\ CH3=((PWM_PERIOD_CYCLES) / 4)
TIM1.Pulse-PWM\ Generation4\ No\ Output=(((PWM_PERIOD_CYCLES) / 2) - (HTMIN))
TIM1.Pulse-PWM\ Generation5\ No\ Output=(((PWM_PERIOD_CYCLES) / 2) + 1)
TIM1.Pulse-PWM\ Generation6\ No\ Output=(((PWM_PERIOD_CYCLES) / 2) + 1)
TIM1.RepetitionCounter=(REP_COUNTER)
TIM1.TIM_MasterOutputTrigger=TIM_TRGO_OC4REF
TIM1.TIM_MasterOutputTrigger2=TIM_TRGO2_RESET
TIM1.TIM_MasterSlaveMode=TIM_MASTERSLAVEMODE_DISABLE
TIM1.TIM_SlaveMode=TIM_SLAVEMODE_TRIGGER
USART2.BaudRate=115200
USART2.VirtualMode-Asynchronous=VM_ASYNC
USART2.WordLength=WORDLENGTH_8B
VP_MotorControl_MC_ENABLED.Mode=Enabled
VP_TIM1_VS_ClockSourceITR.Mode=TriggerSource_ITR1
VP_TIM1_VS_ControllerModeTrigger.Mode=Trigger Mode
VP_TIM1_VS_no_output4.Mode=PWM Generation4 No Output
board=custom

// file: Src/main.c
/* USER CODE BEGIN Header */
/**
  ******************************************************************************
  * @file           : main.c
  * @brief          : Main program body
  ******************************************************************************
  * @attention
  *
  * <h2><center>&copy; Copyright (c) 2020 STMicroelectronics.
  * All rights reserved.</center></h2>
  *
  * This software component is licensed by ST under Ultimate Liberty license
  * SLA0044, the "License"; You may not use this file except in compliance with
  * the License. You may obtain a copy of the License at:
  *                             www.st.com/SLA0044
  *
  ******************************************************************************
  */
/* USER CODE END Header */

#include "main.h"
#include "motorcontrol.h"

ADC_HandleTypeDef hadc1;

DAC_HandleTypeDef hdac;

I2C_HandleTypeDef hi2c1;

TIM_HandleTypeDef htim1;

UART_HandleTypeDef huart2;

void SystemClock_Config(void);
static void MX_GPIO_Init(void);
static void MX_ADC1_Init(void);
static void MX_DAC_Init(void);
static void MX_I2C1_Init(void);
static void MX_TIM1_Init(void);
static void MX_USART2_UART_Init(void);
static void MX_NVIC_Init(void);

/* USER CODE BEGIN 0 */
#define MPU6050_ADDR 0xD0

#define SMPLRT_DIV_REG 0x19
#define GYRO_CONFIG_REG 0x1B
#define ACCEL_CONFIG_REG 0x1C
#define ACCEL_XOUT_H_REG 0x3B
#define TEMP_OUT_H_REG 0x41
#define GYRO_XOUT_H_REG 0x43
#define PWR_MGMT_1_REG 0x6B
#define WHO_AM_I_REG 0x75

int16_t Gyro_X_RAW = 0;
int16_t Gyro_Y_RAW = 0;
int16_t Gyro_Z_RAW = 0;

float Ax, Ay, Az, Gx, Gy, Gz;
char buffer[16];

void MPU6050_Init (void)
{
	uint8_t check;
	uint8_t Data;

	// check device ID WHO_AM_I

	HAL_I2C_Mem_Read (&hi2c1, MPU6050_ADDR,WHO_AM_I_REG,1, &check, 1, 1000);

	if (check == 104)  // 0x68 will be returned by the sensor if everything goes well
	{
		// power management register 0X6B we should write all 0's to wake the sensor up
		Data = 0;
		HAL_I2C_Mem_Write(&hi2c1, MPU6050_ADDR, PWR_MGMT_1_REG, 1,&Data, 1, 1000);

		// Set DATA RATE of 1KHz by writing SMPLRT_DIV register
		Data = 0x07;
		HAL_I2C_Mem_Write(&hi2c1, MPU6050_ADDR, SMPLRT_DIV_REG, 1, &Data, 1, 1000);

		// Set accelerometer configuration in ACCEL_CONFIG Register
		// XA_ST=0,YA_ST=0,ZA_ST=0, FS_SEL=0 -> ± 2g
		Data = 0x00;
		HAL_I2C_Mem_Write(&hi2c1, MPU6050_ADDR, ACCEL_CONFIG_REG, 1, &Data, 1, 1000);

		// Set Gyroscopic configuration in GYRO_CONFIG Register
		// XG_ST=0,YG_ST=0,ZG_ST=0, FS_SEL=0 -> ± 250 °/s
		Data = 0x00;
		HAL_I2C_Mem_Write(&hi2c1, MPU6050_ADDR, GYRO_CONFIG_REG, 1, &Data, 1, 1000);
	}

}

void MPU6050_Read_Gyro (void)
{
	uint8_t Rec_Data[6];

	// Read 6 BYTES of data starting from GYRO_XOUT_H register

	HAL_I2C_Mem_Read (&hi2c1, MPU6050_ADDR, GYRO_XOUT_H_REG, 1, Rec_Data, 6, 1000);

	Gyro_X_RAW = (int16_t)(Rec_Data[0] << 8 | Rec_Data [1]);
	Gyro_Y_RAW = (int16_t)(Rec_Data[2] << 8 | Rec_Data [3]);
	Gyro_Z_RAW = (int16_t)(Rec_Data[4] << 8 | Rec_Data [5]);

	/*** convert the RAW values into dps (°/s)
	     we have to divide according to the Full scale value set in FS_SEL
	     I have configured FS_SEL = 0. So I am dividing by 131.0
	     for more details check GYRO_CONFIG Register              ****/

	Gx = Gyro_X_RAW/131.0;
	Gy = Gyro_Y_RAW/131.0;
	Gz = Gyro_Z_RAW/131.0;
	itoa(Gx,buffer[0],10);
		  itoa(Gy,buffer[1],10);
		  itoa(Gz,buffer[2],10);

}
/* USER CODE END 0 */

int main(void)
{

  /* MCU Configuration--------------------------------------------------------*/

  /* Reset of all peripherals, Initializes the Flash interface and the Systick. */
  HAL_Init();

  /* Configure the system clock */
  SystemClock_Config();

  /* Initialize all configured peripherals */
  MX_GPIO_Init();
  MX_ADC1_Init();
  MX_DAC_Init();
  MX_I2C1_Init();
  MX_TIM1_Init();
  MX_USART2_UART_Init();
  MX_MotorControl_Init();

  /* Initialize interrupts */
  MX_NVIC_Init();

  /* Infinite loop */
  while (1)
  {
        MC_ProgramSpeedRampMotor1(6000/6,100); //ramp up the motor to 6000 RPM in 100 ms Clockwise
        MC_StartMotor1();
        HAL_Delay(5000);
        MC_StopMotor1();
        HAL_Delay(500);
        MC_ProgramSpeedRampMotor1(-6000/6,100);//ramp up the motor to 6000 RPM in 100 ms Anticlockwise
        MC_StartMotor1();
        HAL_Delay(5000);
        MC_StopMotor1();
        HAL_Delay(500);

  }
}

void SystemClock_Config(void)
{
  RCC_OscInitTypeDef RCC_OscInitStruct = {0};
  RCC_ClkInitTypeDef RCC_ClkInitStruct = {0};
  RCC_PeriphCLKInitTypeDef PeriphClkInit = {0};

  /** Initializes the CPU, AHB and APB busses clocks
  */
  RCC_OscInitStruct.OscillatorType = RCC_OSCILLATORTYPE_HSI|RCC_OSCILLATORTYPE_HSE;
  RCC_OscInitStruct.HSEState = RCC_HSE_ON;
  RCC_OscInitStruct.HSEPredivValue = RCC_HSE_PREDIV_DIV1;
  RCC_OscInitStruct.HSIState = RCC_HSI_ON;
  RCC_OscInitStruct.HSICalibrationValue = RCC_HSICALIBRATION_DEFAULT;
  RCC_OscInitStruct.PLL.PLLState = RCC_PLL_ON;
  RCC_OscInitStruct.PLL.PLLSource = RCC_PLLSOURCE_HSE;
  RCC_OscInitStruct.PLL.PLLMUL = RCC_PLL_MUL9;
  if (HAL_RCC_OscConfig(&RCC_OscInitStruct) != HAL_OK)
  {
    Error_Handler();
  }
  /** Initializes the CPU, AHB and APB busses clocks
  */
  RCC_ClkInitStruct.ClockType = RCC_CLOCKTYPE_HCLK|RCC_CLOCKTYPE_SYSCLK
                              |RCC_CLOCKTYPE_PCLK1|RCC_CLOCKTYPE_PCLK2;
  RCC_ClkInitStruct.SYSCLKSource = RCC_SYSCLKSOURCE_PLLCLK;
  RCC_ClkInitStruct.AHBCLKDivider = RCC_SYSCLK_DIV1;
  RCC_ClkInitStruct.APB1CLKDivider = RCC_HCLK_DIV2;
  RCC_ClkInitStruct.APB2CLKDivider = RCC_HCLK_DIV1;

  if (HAL_RCC_ClockConfig(&RCC_ClkInitStruct, FLASH_LATENCY_2) != HAL_OK)
  {
    Error_Handler();
  }
  PeriphClkInit.PeriphClockSelection = RCC_PERIPHCLK_I2C1|RCC_PERIPHCLK_TIM1;
  PeriphClkInit.I2c1ClockSelection = RCC_I2C1CLKSOURCE_HSI;
  PeriphClkInit.Tim1ClockSelection = RCC_TIM1CLK_PLLCLK;
  if (HAL_RCCEx_PeriphCLKConfig(&PeriphClkInit) != HAL_OK)
  {
    Error_Handler();
  }
}

/**
  * @brief NVIC Configuration.
  * @retval None
  */
static void MX_NVIC_Init(void)
{
  /* TIM1_BRK_TIM15_IRQn interrupt configuration */
  HAL_NVIC_SetPriority(TIM1_BRK_TIM15_IRQn, 4, 1);
  HAL_NVIC_EnableIRQ(TIM1_BRK_TIM15_IRQn);
  /* TIM1_UP_TIM16_IRQn interrupt configuration */
  HAL_NVIC_SetPriority(TIM1_UP_TIM16_IRQn, 0, 0);
  HAL_NVIC_EnableIRQ(TIM1_UP_TIM16_IRQn);
  /* ADC1_IRQn interrupt configuration */
  HAL_NVIC_SetPriority(ADC1_IRQn, 2, 0);
  HAL_NVIC_EnableIRQ(ADC1_IRQn);
  /* USART2_IRQn interrupt configuration */
  HAL_NVIC_SetPriority(USART2_IRQn, 3, 1);
  HAL_NVIC_EnableIRQ(USART2_IRQn);
  /* EXTI15_10_IRQn interrupt configuration */
  HAL_NVIC_SetPriority(EXTI15_10_IRQn, 3, 0);
  HAL_NVIC_EnableIRQ(EXTI15_10_IRQn);
}

static void MX_ADC1_Init(void)
{

  ADC_InjectionConfTypeDef sConfigInjected = {0};
  ADC_ChannelConfTypeDef sConfig = {0};

  /** Common config
  */
  hadc1.Instance = ADC1;
  hadc1.Init.ClockPrescaler = ADC_CLOCK_SYNC_PCLK_DIV1;
  hadc1.Init.Resolution = ADC_RESOLUTION_12B;
  hadc1.Init.ScanConvMode = ADC_SCAN_ENABLE;
  hadc1.Init.ContinuousConvMode = DISABLE;
  hadc1.Init.DiscontinuousConvMode = DISABLE;
  hadc1.Init.ExternalTrigConvEdge = ADC_EXTERNALTRIGCONVEDGE_NONE;
  hadc1.Init.ExternalTrigConv = ADC_SOFTWARE_START;
  hadc1.Init.DataAlign = ADC_DATAALIGN_LEFT;
  hadc1.Init.NbrOfConversion = 2;
  hadc1.Init.DMAContinuousRequests = DISABLE;
  hadc1.Init.EOCSelection = ADC_EOC_SINGLE_CONV;
  hadc1.Init.LowPowerAutoWait = DISABLE;
  hadc1.Init.Overrun = ADC_OVR_DATA_PRESERVED;
  if (HAL_ADC_Init(&hadc1) != HAL_OK)
  {
    Error_Handler();
  }
  /** Configure Injected Channel
  */
  sConfigInjected.InjectedChannel = ADC_CHANNEL_1;
  sConfigInjected.InjectedRank = ADC_INJECTED_RANK_1;
  sConfigInjected.InjectedSingleDiff = ADC_SINGLE_ENDED;
  sConfigInjected.InjectedNbrOfConversion = 3;
  sConfigInjected.InjectedSamplingTime = ADC_SAMPLETIME_19CYCLES_5;
  sConfigInjected.ExternalTrigInjecConvEdge = ADC_EXTERNALTRIGINJECCONV_EDGE_RISING;
  sConfigInjected.ExternalTrigInjecConv = ADC_EXTERNALTRIGINJECCONV_T1_TRGO;
  sConfigInjected.AutoInjectedConv = DISABLE;
  sConfigInjected.InjectedDiscontinuousConvMode = DISABLE;
  sConfigInjected.QueueInjectedContext = ENABLE;
  sConfigInjected.InjectedOffset = 0;
  sConfigInjected.InjectedOffsetNumber = ADC_OFFSET_NONE;
  if (HAL_ADCEx_InjectedConfigChannel(&hadc1, &sConfigInjected) != HAL_OK)
  {
    Error_Handler();
  }
  /** Configure Injected Channel
  */
  sConfigInjected.InjectedChannel = ADC_CHANNEL_7;
  sConfigInjected.InjectedRank = ADC_INJECTED_RANK_2;
  if (HAL_ADCEx_InjectedConfigChannel(&hadc1, &sConfigInjected) != HAL_OK)
  {
    Error_Handler();
  }
  /** Configure Injected Channel
  */
  sConfigInjected.InjectedChannel = ADC_CHANNEL_6;
  sConfigInjected.InjectedRank = ADC_INJECTED_RANK_3;
  if (HAL_ADCEx_InjectedConfigChannel(&hadc1, &sConfigInjected) != HAL_OK)
  {
    Error_Handler();
  }
  /** Configure Regular Channel
  */
  sConfig.Channel = ADC_CHANNEL_2;
  sConfig.Rank = ADC_REGULAR_RANK_1;
  sConfig.SingleDiff = ADC_SINGLE_ENDED;
  sConfig.SamplingTime = ADC_SAMPLETIME_61CYCLES_5;
  sConfig.OffsetNumber = ADC_OFFSET_NONE;
  sConfig.Offset = 0;
  if (HAL_ADC_ConfigChannel(&hadc1, &sConfig) != HAL_OK)
  {
    Error_Handler();
  }
  /** Configure Regular Channel
  */
  sConfig.Channel = ADC_CHANNEL_8;
  sConfig.Rank = ADC_REGULAR_RANK_2;
  if (HAL_ADC_ConfigChannel(&hadc1, &sConfig) != HAL_OK)
  {
    Error_Handler();
  }

}

static void MX_DAC_Init(void)
{

  DAC_ChannelConfTypeDef sConfig = {0};

  /** DAC Initialization
  */
  hdac.Instance = DAC;
  if (HAL_DAC_Init(&hdac) != HAL_OK)
  {
    Error_Handler();
  }
  /** DAC channel OUT1 config
  */
  sConfig.DAC_Trigger = DAC_TRIGGER_SOFTWARE;
  sConfig.DAC_OutputBuffer = DAC_OUTPUTBUFFER_DISABLE;
  if (HAL_DAC_ConfigChannel(&hdac, &sConfig, DAC_CHANNEL_1) != HAL_OK)
  {
    Error_Handler();
  }

}

static void MX_I2C1_Init(void)
{

  hi2c1.Instance = I2C1;
  hi2c1.Init.Timing = 0x2000090E;
  hi2c1.Init.OwnAddress1 = 0;
  hi2c1.Init.AddressingMode = I2C_ADDRESSINGMODE_7BIT;
  hi2c1.Init.DualAddressMode = I2C_DUALADDRESS_DISABLE;
  hi2c1.Init.OwnAddress2 = 0;
  hi2c1.Init.OwnAddress2Masks = I2C_OA2_NOMASK;
  hi2c1.Init.GeneralCallMode = I2C_GENERALCALL_DISABLE;
  hi2c1.Init.NoStretchMode = I2C_NOSTRETCH_DISABLE;
  if (HAL_I2C_Init(&hi2c1) != HAL_OK)
  {
    Error_Handler();
  }
  /** Configure Analogue filter
  */
  if (HAL_I2CEx_ConfigAnalogFilter(&hi2c1, I2C_ANALOGFILTER_ENABLE) != HAL_OK)
  {
    Error_Handler();
  }
  /** Configure Digital filter
  */
  if (HAL_I2CEx_ConfigDigitalFilter(&hi2c1, 0) != HAL_OK)
  {
    Error_Handler();
  }

}

static void MX_TIM1_Init(void)
{

  TIM_SlaveConfigTypeDef sSlaveConfig = {0};
  TIM_MasterConfigTypeDef sMasterConfig = {0};
  TIM_OC_InitTypeDef sConfigOC = {0};
  TIM_BreakDeadTimeConfigTypeDef sBreakDeadTimeConfig = {0};

  htim1.Instance = TIM1;
  htim1.Init.Prescaler = ((TIM_CLOCK_DIVIDER) - 1);
  htim1.Init.CounterMode = TIM_COUNTERMODE_CENTERALIGNED1;
  htim1.Init.Period = ((PWM_PERIOD_CYCLES) / 2);
  htim1.Init.ClockDivision = TIM_CLOCKDIVISION_DIV2;
  htim1.Init.RepetitionCounter = (REP_COUNTER);
  htim1.Init.AutoReloadPreload = TIM_AUTORELOAD_PRELOAD_DISABLE;
  if (HAL_TIM_Base_Init(&htim1) != HAL_OK)
  {
    Error_Handler();
  }
  if (HAL_TIM_PWM_Init(&htim1) != HAL_OK)
  {
    Error_Handler();
  }
  sSlaveConfig.SlaveMode = TIM_SLAVEMODE_TRIGGER;
  sSlaveConfig.InputTrigger = TIM_TS_ITR1;
  if (HAL_TIM_SlaveConfigSynchro(&htim1, &sSlaveConfig) != HAL_OK)
  {
    Error_Handler();
  }
  sMasterConfig.MasterOutputTrigger = TIM_TRGO_OC4REF;
  sMasterConfig.MasterOutputTrigger2 = TIM_TRGO2_RESET;
  sMasterConfig.MasterSlaveMode = TIM_MASTERSLAVEMODE_DISABLE;
  if (HAL_TIMEx_MasterConfigSynchronization(&htim1, &sMasterConfig) != HAL_OK)
  {
    Error_Handler();
  }
  sConfigOC.OCMode = TIM_OCMODE_PWM1;
  sConfigOC.Pulse = ((PWM_PERIOD_CYCLES) / 4);
  sConfigOC.OCPolarity = TIM_OCPOLARITY_HIGH;
  sConfigOC.OCNPolarity = TIM_OCNPOLARITY_HIGH;
  sConfigOC.OCFastMode = TIM_OCFAST_DISABLE;
  sConfigOC.OCIdleState = TIM_OCIDLESTATE_RESET;
  sConfigOC.OCNIdleState = TIM_OCNIDLESTATE_RESET;
  if (HAL_TIM_PWM_ConfigChannel(&htim1, &sConfigOC, TIM_CHANNEL_1) != HAL_OK)
  {
    Error_Handler();
  }
  if (HAL_TIM_PWM_ConfigChannel(&htim1, &sConfigOC, TIM_CHANNEL_2) != HAL_OK)
  {
    Error_Handler();
  }
  if (HAL_TIM_PWM_ConfigChannel(&htim1, &sConfigOC, TIM_CHANNEL_3) != HAL_OK)
  {
    Error_Handler();
  }
  sConfigOC.OCMode = TIM_OCMODE_PWM2;
  sConfigOC.Pulse = (((PWM_PERIOD_CYCLES) / 2) - (HTMIN));
  if (HAL_TIM_PWM_ConfigChannel(&htim1, &sConfigOC, TIM_CHANNEL_4) != HAL_OK)
  {
    Error_Handler();
  }
  sBreakDeadTimeConfig.OffStateRunMode = TIM_OSSR_ENABLE;
  sBreakDeadTimeConfig.OffStateIDLEMode = TIM_OSSI_ENABLE;
  sBreakDeadTimeConfig.LockLevel = TIM_LOCKLEVEL_1;
  sBreakDeadTimeConfig.DeadTime = 0;
  sBreakDeadTimeConfig.BreakState = TIM_BREAK_DISABLE;
  sBreakDeadTimeConfig.BreakPolarity = TIM_BREAKPOLARITY_HIGH;
  sBreakDeadTimeConfig.BreakFilter = 0;
  sBreakDeadTimeConfig.Break2State = TIM_BREAK2_ENABLE;
  sBreakDeadTimeConfig.Break2Polarity = TIM_BREAK2POLARITY_LOW;
  sBreakDeadTimeConfig.Break2Filter = 7;
  sBreakDeadTimeConfig.AutomaticOutput = TIM_AUTOMATICOUTPUT_DISABLE;
  if (HAL_TIMEx_ConfigBreakDeadTime(&htim1, &sBreakDeadTimeConfig) != HAL_OK)
  {
    Error_Handler();
  }
  HAL_TIM_MspPostInit(&htim1);

}

static void MX_USART2_UART_Init(void)
{

  huart2.Instance = USART2;
  huart2.Init.BaudRate = 115200;
  huart2.Init.WordLength = UART_WORDLENGTH_8B;
  huart2.Init.StopBits = UART_STOPBITS_1;
  huart2.Init.Parity = UART_PARITY_NONE;
  huart2.Init.Mode = UART_MODE_TX_RX;
  huart2.Init.HwFlowCtl = UART_HWCONTROL_NONE;
  huart2.Init.OverSampling = UART_OVERSAMPLING_16;
  huart2.Init.OneBitSampling = UART_ONE_BIT_SAMPLE_DISABLE;
  huart2.AdvancedInit.AdvFeatureInit = UART_ADVFEATURE_NO_INIT;
  if (HAL_UART_Init(&huart2) != HAL_OK)
  {
    Error_Handler();
  }

}

static void MX_GPIO_Init(void)
{
  GPIO_InitTypeDef GPIO_InitStruct = {0};

  /* GPIO Ports Clock Enable */
  __HAL_RCC_GPIOC_CLK_ENABLE();
  __HAL_RCC_GPIOF_CLK_ENABLE();
  __HAL_RCC_GPIOA_CLK_ENABLE();
  __HAL_RCC_GPIOB_CLK_ENABLE();

  /*Configure GPIO pin Output Level */
  HAL_GPIO_WritePin(LD2_GPIO_Port, LD2_Pin, GPIO_PIN_RESET);

  /*Configure GPIO pin Output Level */
  HAL_GPIO_WritePin(GPIOC, M1_PWM_EN_U_Pin|M1_PWM_EN_V_Pin|M1_PWM_EN_W_Pin, GPIO_PIN_RESET);

  /*Configure GPIO pin : Start_Stop_Pin */
  GPIO_InitStruct.Pin = Start_Stop_Pin;
  GPIO_InitStruct.Mode = GPIO_MODE_IT_FALLING;
  GPIO_InitStruct.Pull = GPIO_NOPULL;
  HAL_GPIO_Init(Start_Stop_GPIO_Port, &GPIO_InitStruct);

  /*Configure GPIO pin : LD2_Pin */
  GPIO_InitStruct.Pin = LD2_Pin;
  GPIO_InitStruct.Mode = GPIO_MODE_OUTPUT_PP;
  GPIO_InitStruct.Pull = GPIO_NOPULL;
  GPIO_InitStruct.Speed = GPIO_SPEED_FREQ_LOW;
  HAL_GPIO_Init(LD2_GPIO_Port, &GPIO_InitStruct);

  /*Configure GPIO pins : M1_PWM_EN_U_Pin M1_PWM_EN_V_Pin M1_PWM_EN_W_Pin */
  GPIO_InitStruct.Pin = M1_PWM_EN_U_Pin|M1_PWM_EN_V_Pin|M1_PWM_EN_W_Pin;
  GPIO_InitStruct.Mode = GPIO_MODE_OUTPUT_PP;
  GPIO_InitStruct.Pull = GPIO_PULLDOWN;
  GPIO_InitStruct.Speed = GPIO_SPEED_FREQ_HIGH;
  HAL_GPIO_Init(GPIOC, &GPIO_InitStruct);

}

void Error_Handler(void)
{
}

/************************ (C) COPYRIGHT STMicroelectronics *****END OF FILE****/
